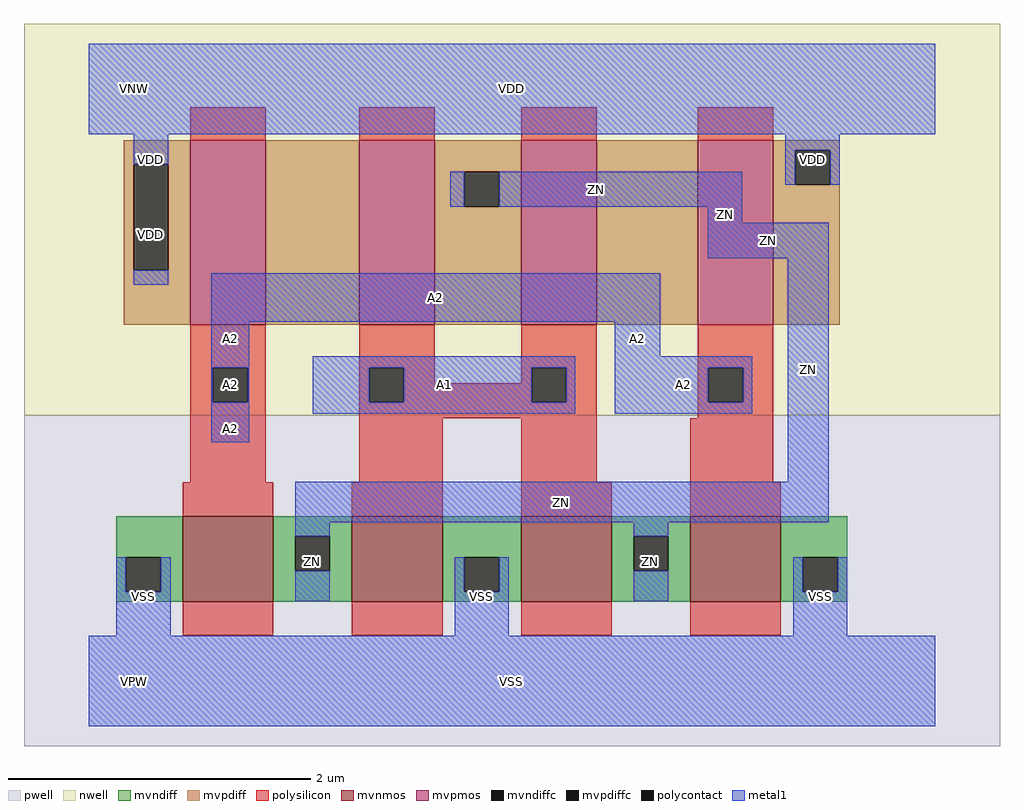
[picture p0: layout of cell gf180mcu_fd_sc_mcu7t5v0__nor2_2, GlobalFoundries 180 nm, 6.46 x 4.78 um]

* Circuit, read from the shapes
.subckt gf180mcu_fd_sc_mcu7t5v0__nor2_2 A1 A2 ZN VDD VNW VPW VSS
XM1 ZN A2 VSS VPW nfet_06v0 w=0.565u l=0.6u m=2
XM2 VSS A1 ZN VPW nfet_06v0 w=0.565u l=0.6u m=2
XM3 n1 A2 VDD VNW pfet_06v0 w=1.22u l=0.5u
XM4 ZN A1 n1 VNW pfet_06v0 w=1.22u l=0.5u
XM5 n2 A1 ZN VNW pfet_06v0 w=1.22u l=0.5u
XM6 VDD A2 n2 VNW pfet_06v0 w=1.22u l=0.5u
.ends

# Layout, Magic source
magic
tech gf180mcuD
magscale 1 10
<< nwell >>
rect -86 352 1206 870
<< pwell >>
rect -86 -86 1206 352
<< mvnmos >>
rect 124 105 244 218
rect 348 105 468 218
rect 572 105 692 218
rect 796 105 916 218
<< mvpmos >>
rect 134 472 234 716
rect 358 472 458 716
rect 572 472 672 716
rect 806 472 906 716
<< mvndiff >>
rect 36 164 124 218
rect 36 118 49 164
rect 95 118 124 164
rect 36 105 124 118
rect 244 192 348 218
rect 244 146 273 192
rect 319 146 348 192
rect 244 105 348 146
rect 468 164 572 218
rect 468 118 497 164
rect 543 118 572 164
rect 468 105 572 118
rect 692 192 796 218
rect 692 146 721 192
rect 767 146 796 192
rect 692 105 796 146
rect 916 164 1004 218
rect 916 118 945 164
rect 991 118 1004 164
rect 916 105 1004 118
<< mvpdiff >>
rect 46 684 134 716
rect 46 544 59 684
rect 105 544 134 684
rect 46 472 134 544
rect 234 472 358 716
rect 458 674 572 716
rect 458 628 497 674
rect 543 628 572 674
rect 458 472 572 628
rect 672 472 806 716
rect 906 703 994 716
rect 906 657 935 703
rect 981 657 994 703
rect 906 472 994 657
<< mvndiffc >>
rect 49 118 95 164
rect 273 146 319 192
rect 497 118 543 164
rect 721 146 767 192
rect 945 118 991 164
<< mvpdiffc >>
rect 59 544 105 684
rect 497 628 543 674
rect 935 657 981 703
<< polysilicon >>
rect 134 716 234 760
rect 358 716 458 760
rect 572 716 672 760
rect 806 716 906 760
rect 134 415 234 472
rect 134 369 164 415
rect 210 369 234 415
rect 134 263 234 369
rect 358 415 458 472
rect 358 369 371 415
rect 417 394 458 415
rect 572 415 672 472
rect 572 394 586 415
rect 417 369 586 394
rect 632 369 672 415
rect 358 348 672 369
rect 806 415 906 472
rect 806 369 820 415
rect 866 369 906 415
rect 806 348 906 369
rect 358 263 468 348
rect 124 218 244 263
rect 348 218 468 263
rect 572 263 672 348
rect 796 263 906 348
rect 572 218 692 263
rect 796 218 916 263
rect 124 61 244 105
rect 348 61 468 105
rect 572 61 692 105
rect 796 61 916 105
<< polycontact >>
rect 164 369 210 415
rect 371 369 417 415
rect 586 369 632 415
rect 820 369 866 415
<< metal1 >>
rect 0 724 1120 844
rect 59 684 105 724
rect 922 703 994 724
rect 478 628 497 674
rect 543 628 865 674
rect 922 657 935 703
rect 981 657 994 703
rect 819 607 865 628
rect 819 560 979 607
rect 59 525 105 544
rect 162 476 756 540
rect 162 415 212 476
rect 696 430 756 476
rect 162 369 164 415
rect 210 369 212 415
rect 162 316 212 369
rect 296 415 644 430
rect 296 369 371 415
rect 417 369 586 415
rect 632 369 644 415
rect 296 354 644 369
rect 696 415 878 430
rect 696 369 820 415
rect 866 369 878 415
rect 696 354 878 369
rect 925 264 979 560
rect 273 210 979 264
rect 273 192 319 210
rect 36 118 49 164
rect 95 118 108 164
rect 36 60 108 118
rect 721 192 767 210
rect 273 106 319 146
rect 484 118 497 164
rect 543 118 556 164
rect 484 60 556 118
rect 721 106 767 146
rect 932 118 945 164
rect 991 118 1004 164
rect 932 60 1004 118
rect 0 -60 1120 60
<< labels >>
flabel metal1 s 0 724 1120 844 0 FreeSans 400 0 0 0 VDD
port 4 nsew power bidirectional abutment
flabel metal1 s 932 60 1004 164 0 FreeSans 400 0 0 0 VSS
port 7 nsew ground bidirectional abutment
flabel metal1 s 478 628 865 674 0 FreeSans 400 0 0 0 ZN
port 3 nsew default output
flabel metal1 s 296 354 644 430 0 FreeSans 400 0 0 0 A1
port 1 nsew default input
flabel metal1 s 162 476 756 540 0 FreeSans 400 0 0 0 A2
port 2 nsew default input
flabel nwell s 10 734 110 834 0 FreeSans 400 0 0 0 VNW
port 5 nsew power bidirectional
flabel pwell s 10 -50 110 50 0 FreeSans 400 0 0 0 VPW
port 6 nsew ground bidirectional
rlabel metal1 s 696 430 756 476 1 A2
port 2 nsew default input
rlabel metal1 s 162 430 212 476 1 A2
port 2 nsew default input
rlabel metal1 s 696 354 878 430 1 A2
port 2 nsew default input
rlabel metal1 s 162 354 212 430 1 A2
port 2 nsew default input
rlabel metal1 s 162 316 212 354 1 A2
port 2 nsew default input
rlabel metal1 s 819 607 865 628 1 ZN
port 3 nsew default output
rlabel metal1 s 819 560 979 607 1 ZN
port 3 nsew default output
rlabel metal1 s 925 264 979 560 1 ZN
port 3 nsew default output
rlabel metal1 s 273 210 979 264 1 ZN
port 3 nsew default output
rlabel metal1 s 721 106 767 210 1 ZN
port 3 nsew default output
rlabel metal1 s 273 106 319 210 1 ZN
port 3 nsew default output
rlabel metal1 s 922 657 994 724 1 VDD
port 4 nsew power bidirectional abutment
rlabel metal1 s 59 657 105 724 1 VDD
port 4 nsew power bidirectional abutment
rlabel metal1 s 59 525 105 657 1 VDD
port 4 nsew power bidirectional abutment
rlabel metal1 s 484 60 556 164 1 VSS
port 7 nsew ground bidirectional abutment
rlabel metal1 s 36 60 108 164 1 VSS
port 7 nsew ground bidirectional abutment
rlabel metal1 s 0 -60 1120 60 1 VSS
port 7 nsew ground bidirectional abutment
<< properties >>
string FIXED_BBOX 0 0 1120 784
string GDS_END 743406
string GDS_FILE $PDKPATH/libs.ref/gf180mcu_fd_sc_mcu7t5v0/gds/gf180mcu_fd_sc_mcu7t5v0.gds
string GDS_START 740236
string LEFclass core
string LEFsite GF018hv5v_mcu_sc7
string LEFsymmetry X Y
<< end >>
